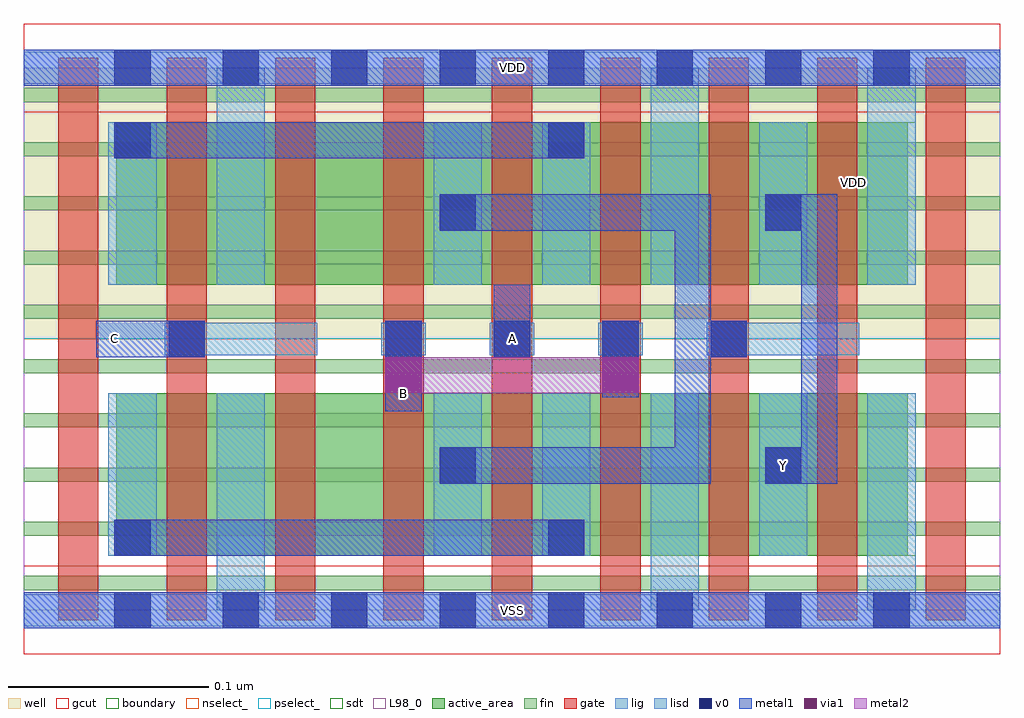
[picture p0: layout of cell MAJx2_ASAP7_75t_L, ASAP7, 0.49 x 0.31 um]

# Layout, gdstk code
import gdstk
lib = gdstk.Library(unit=1e-6, precision=2.5e-10)
def R(c, l, rs):  # rectangles x0, y0, x1, y1
    for r in rs: c.add(gdstk.rectangle(r[:2], r[2:], *l))
def A(c, l, x, y, w, h, nx, ny, dx, dy):  # array of equal rectangles
    R(c, l, [(x+i*dx, y+j*dy, x+i*dx+w, y+j*dy+h) for i in range(nx) for j in range(ny)])
def P(c, l, *ps):  # polygons
    for p in ps: c.add(gdstk.Polygon(p, *l))
well = (1, 0)
fin = (2, 0)
gate = (7, 0)
gcut = (10, 0)
active_area = (11, 0)
nselect_ = (12, 0)
pselect_ = (13, 0)
lig = (16, 0)
lisd = (17, 0)
v0 = (18, 0)
metal1 = (19, 0)
metal2 = (20, 0)
via1 = (21, 0)
sdt = (88, 0)
L98_0 = (98, 0)
boundary = (100, 0)

majx2_asap7_75t_l = lib.new_cell('MAJx2_ASAP7_75t_L')
R(majx2_asap7_75t_l, well, [(0,0.135,0.486,0.27)])
A(majx2_asap7_75t_l, fin, 0, 0.01, 0.486, 0.007, 1, 10, 0, 0.027)
A(majx2_asap7_75t_l, gate, 0.017, -0.005, 0.02, 0.28, 9, 1, 0.054, 0)
R(majx2_asap7_75t_l, gcut, [(0,-0.022,0.486,0.022), (0,0.248,0.486,0.292)])
R(majx2_asap7_75t_l, active_area, [(0.046,0.027,0.44,0.108), (0.046,0.162,0.44,0.243)])
R(majx2_asap7_75t_l, nselect_, [(0,0,0.486,0.135)])
R(majx2_asap7_75t_l, pselect_, [(0,0.135,0.486,0.27)])
A(majx2_asap7_75t_l, lig, 0.178, 0.127, 0.022, 0.016, 3, 1, 0.054, 0)
R(majx2_asap7_75t_l, lig, [(0,-0.008,0.486,0.008), (0.07,0.127,0.146,0.143), (0.34,0.127,0.416,0.143), (0,0.262,0.486,0.278)])
R(majx2_asap7_75t_l, lisd, [(0.096,0,0.12,0.108), (0.312,0,0.336,0.108), (0.42,0,0.444,0.108), (0.042,0.027,0.066,0.108), (0.204,0.027,0.228,0.108), (0.258,0.027,0.282,0.108), (0.366,0.027,0.39,0.108), (0.042,0.162,0.066,0.243), (0.096,0.162,0.12,0.27), (0.204,0.162,0.228,0.243), (0.258,0.162,0.282,0.243), (0.312,0.162,0.336,0.27), (0.366,0.162,0.39,0.243), (0.42,0.162,0.444,0.27)])
A(majx2_asap7_75t_l, v0, 0.045, -0.009, 0.018, 0.018, 8, 2, 0.054, 0.27)
A(majx2_asap7_75t_l, v0, 0.18, 0.126, 0.018, 0.018, 4, 1, 0.054, 0)
R(majx2_asap7_75t_l, v0, [(0.045,0.027,0.063,0.045), (0.261,0.027,0.279,0.045), (0.207,0.063,0.225,0.081), (0.369,0.063,0.387,0.081), (0.072,0.126,0.09,0.144), (0.207,0.189,0.225,0.207), (0.369,0.189,0.387,0.207), (0.045,0.225,0.063,0.243), (0.261,0.225,0.279,0.243)])
R(majx2_asap7_75t_l, metal1, [(0,-0.009,0.486,0.009), (0.045,0.027,0.279,0.045), (0.18,0.099,0.198,0.144), (0.288,0.106,0.306,0.144), (0.036,0.126,0.09,0.144), (0.234,0.126,0.252,0.162), (0.045,0.225,0.279,0.243), (0,0.261,0.486,0.279)])
P(majx2_asap7_75t_l, metal1, [(0.369,0.063),(0.369,0.081),(0.387,0.081),(0.387,0.189),(0.369,0.189),(0.369,0.207),(0.405,0.207),(0.405,0.063)],
  [(0.207,0.063),(0.207,0.081),(0.324,0.081),(0.324,0.189),(0.207,0.189),(0.207,0.207),(0.342,0.207),(0.342,0.144),(0.36,0.144),(0.36,0.126),(0.342,0.126),(0.342,0.063)])
R(majx2_asap7_75t_l, metal2, [(0.18,0.108,0.306,0.126)])
R(majx2_asap7_75t_l, via1, [(0.18,0.108,0.198,0.126), (0.288,0.108,0.306,0.126)])
A(majx2_asap7_75t_l, sdt, 0.204, 0.027, 0.024, 0.081, 5, 2, 0.054, 0.135)
R(majx2_asap7_75t_l, sdt, [(0.042,0.027,0.066,0.108), (0.096,0.027,0.12,0.108), (0.042,0.162,0.066,0.243), (0.096,0.162,0.12,0.243)])
R(majx2_asap7_75t_l, L98_0, [(0,0,0.486,0.27)])
R(majx2_asap7_75t_l, boundary, [(0,0,0.486,0.27)])
majx2_asap7_75t_l.add(gdstk.Label('B', (0.189,0.108), layer=19, texttype=251))
majx2_asap7_75t_l.add(gdstk.Label('A', (0.243,0.135), layer=19, texttype=251))
majx2_asap7_75t_l.add(gdstk.Label('Y', (0.378,0.072), layer=19, texttype=251))
majx2_asap7_75t_l.add(gdstk.Label('C', (0.045,0.135), layer=19, texttype=251))
majx2_asap7_75t_l.add(gdstk.Label('VSS', (0.243,0), layer=19, texttype=251))
majx2_asap7_75t_l.add(gdstk.Label('VDD', (0.243,0.27), layer=19, texttype=251))
majx2_asap7_75t_l.add(gdstk.Label('VDD', (0.413,0.213), layer=1, texttype=251))
majx2_asap7_75t_l.add(gdstk.Label('VSS', (0.559,0.213), layer=3, texttype=251))

lib.write_gds('MAJx2_ASAP7_75t_L.gds')
